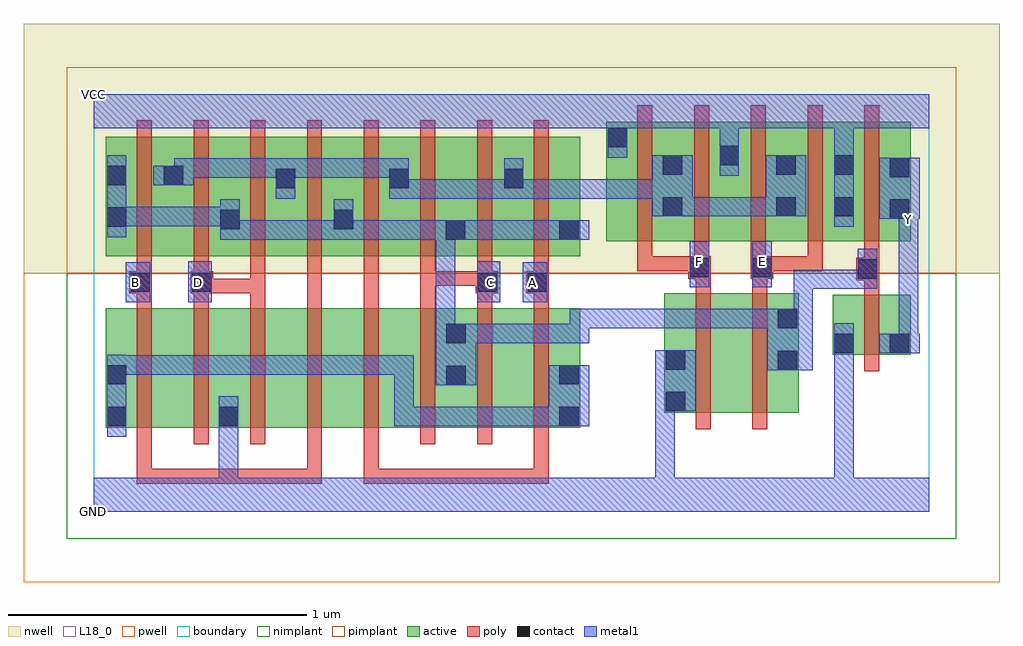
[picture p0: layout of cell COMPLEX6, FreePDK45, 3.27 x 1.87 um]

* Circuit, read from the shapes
.subckt COMPLEX6 A B C D E F GND VCC Y
M1 n1 B n2 VSUBS nfet w=0.4u l=0.05u
M2 GND D n1 VSUBS nfet w=0.4u l=0.05u
M3 n3 D GND VSUBS nfet w=0.4u l=0.05u
M4 n4 B n3 VSUBS nfet w=0.4u l=0.05u
M5 n5 A n4 VSUBS nfet w=0.4u l=0.05u
M6 n6 C n5 VSUBS nfet w=0.4u l=0.05u
M7 n7 C n6 VSUBS nfet w=0.4u l=0.05u
M8 n2 A n7 VSUBS nfet w=0.4u l=0.05u
M9 n8 F GND VSUBS nfet w=0.4u l=0.05u
M10 n6 E n8 VSUBS nfet w=0.4u l=0.05u
M11 Y n6 GND VSUBS nfet w=0.2u l=0.05u
M12 n9 B n6 n10 pfet w=0.4u l=0.05u m=2
M13 n6 D n9 n10 pfet w=0.4u l=0.05u m=2
M14 n9 A n6 n10 pfet w=0.4u l=0.05u m=2
M15 n6 C n9 n10 pfet w=0.4u l=0.05u m=2
M16 n9 F VCC n10 pfet w=0.4u l=0.05u m=2
M17 n9 E VCC n10 pfet w=0.4u l=0.05u m=2
M18 Y n6 VCC n10 pfet w=0.4u l=0.05u
.ends

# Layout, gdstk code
import gdstk
lib = gdstk.Library(unit=1e-6, precision=1e-09)
def R(c, l, rs):  # rectangles x0, y0, x1, y1
    for r in rs: c.add(gdstk.rectangle(r[:2], r[2:], *l))
def A(c, l, x, y, w, h, nx, ny, dx, dy):  # array of equal rectangles
    R(c, l, [(x+i*dx, y+j*dy, x+i*dx+w, y+j*dy+h) for i in range(nx) for j in range(ny)])
active = (1, 0)
pwell = (2, 0)
nwell = (3, 0)
nimplant = (4, 0)
pimplant = (5, 0)
poly = (9, 0)
contact = (10, 0)
metal1 = (11, 0)
L18_0 = (18, 0)
boundary = (235, 0)

complex6 = lib.new_cell('COMPLEX6')
A(complex6, active, 1.902, 0.907, 0.075, 0.293, 3, 1, 0.38, 0)
R(complex6, active, [(0.04,0.282,0.115,0.682), (0.04,0.282,0.265,0.682), (0.265,0.282,0.49,0.682), (0.415,0.282,0.645,0.682), (0.415,0.282,0.49,0.617), (0.645,0.282,0.835,0.682), (0.835,0.282,1.025,0.682), (1.025,0.282,1.252,0.682), (1.177,0.282,1.405,0.682), (1.405,0.282,1.63,0.682), (1.555,0.282,1.63,0.537), (1.177,0.332,1.252,0.682), (1.912,0.332,1.987,0.732), (1.912,0.332,2.137,0.732), (2.137,0.332,2.362,0.732), (2.287,0.332,2.362,0.732), (2.477,0.527,2.552,0.727), (2.477,0.527,2.737,0.727), (2.662,0.527,2.737,0.727), (0.04,0.857,0.305,1.257), (0.04,0.857,0.115,1.2), (0.23,0.857,0.495,1.257), (0.42,0.857,0.68,1.257), (0.605,0.857,0.875,1.257), (0.8,0.857,1.06,1.257), (0.985,0.857,1.25,1.257), (1.175,0.857,1.445,1.257), (1.37,0.857,1.63,1.257), (1.555,0.857,1.63,1.047), (0.23,0.907,0.305,1.2), (0.42,0.907,0.495,1.07), (0.605,0.907,0.68,1.2), (0.8,0.907,0.875,1.07), (0.985,0.907,1.06,1.2), (1.175,0.907,1.25,1.07), (1.37,0.907,1.445,1.2), (1.717,0.907,1.792,1.307), (1.717,0.907,1.977,1.307), (1.902,0.907,2.167,1.307), (2.092,0.907,2.167,1.255), (2.092,0.907,2.357,1.307), (2.282,0.907,2.552,1.307), (2.477,0.907,2.737,1.307), (2.477,0.907,2.552,1.255)])
R(complex6, pwell, [(-0.235,-0.235,3.035,0.8)])
R(complex6, nwell, [(-0.235,0.8,3.035,1.635)])
R(complex6, nimplant, [(-0.09,-0.09,2.89,0.8)])
R(complex6, pimplant, [(-0.09,0.8,2.89,1.49)])
A(complex6, poly, 0.145, 0.227, 0.05, 0.51, 8, 2, 0.19, 0.575)
A(complex6, poly, 0.145, 0.687, 0.05, 0.095, 3, 1, 0.19, 0)
A(complex6, poly, 0.335, 0.757, 0.05, 0.095, 3, 1, 0.38, 0)
A(complex6, poly, 1.822, 0.807, 0.05, 0.095, 4, 1, 0.19, 0)
A(complex6, poly, 1.822, 0.852, 0.05, 0.51, 5, 1, 0.19, 0)
R(complex6, poly, [(0.145,0.095,0.195,0.145), (0.145,0.095,0.195,0.145), (0.145,0.095,0.195,0.145), (0.145,0.095,0.195,0.277), (0.145,0.095,0.442,0.145), (0.392,0.095,0.442,0.145), (0.392,0.095,0.442,0.145), (0.392,0.095,0.442,0.145), (0.392,0.095,0.632,0.145), (0.582,0.095,0.632,0.145), (0.582,0.095,0.632,0.145), (0.582,0.095,0.632,0.145), (0.582,0.095,0.765,0.145), (0.715,0.095,0.765,0.145), (0.715,0.095,0.765,0.277), (0.905,0.095,0.955,0.145), (0.905,0.095,0.955,0.145), (0.905,0.095,0.955,0.145), (0.905,0.095,0.955,0.277), (0.905,0.095,1.087,0.145), (1.037,0.095,1.087,0.145), (1.037,0.095,1.087,0.145), (1.037,0.095,1.087,0.145), (1.037,0.095,1.367,0.145), (1.317,0.095,1.367,0.145), (1.317,0.095,1.367,0.145), (1.317,0.095,1.367,0.145), (1.317,0.095,1.525,0.145), (1.475,0.095,1.525,0.145), (1.475,0.095,1.525,0.277), (2.017,0.277,2.067,0.787), (2.207,0.277,2.257,0.787), (2.582,0.472,2.632,0.782), (0.715,0.687,0.765,0.807), (0.905,0.687,0.955,0.782), (1.095,0.687,1.145,0.807), (1.285,0.687,1.335,0.782), (1.475,0.687,1.525,0.782), (0.12,0.732,0.195,0.807), (0.325,0.732,0.4,0.807), (0.35,0.732,0.4,0.782), (0.35,0.732,0.4,0.782), (0.35,0.732,0.575,0.782), (0.525,0.732,0.575,0.782), (0.525,0.732,0.575,0.852), (0.905,0.732,0.955,0.782), (0.905,0.732,0.955,0.852), (1.28,0.732,1.355,0.807), (1.45,0.732,1.525,0.807), (2.582,0.732,2.632,0.827), (2.017,0.737,2.067,0.832), (2.207,0.737,2.257,0.832), (0.145,0.757,0.195,0.852), (0.715,0.757,0.765,0.807), (1.095,0.757,1.145,0.807), (1.095,0.757,1.145,0.807), (1.095,0.757,1.145,0.807), (1.095,0.757,1.33,0.807), (1.285,0.757,1.335,0.852), (1.475,0.757,1.525,0.852), (2.555,0.777,2.632,0.852), (1.992,0.782,2.067,0.857), (2.202,0.782,2.277,0.857), (2.582,0.802,2.632,0.902), (1.822,0.807,1.872,0.857), (1.822,0.807,1.872,0.857), (1.822,0.807,1.872,0.857), (1.822,0.807,2.042,0.857), (2.227,0.807,2.442,0.857), (2.392,0.807,2.442,0.857), (2.392,0.807,2.442,0.857), (2.392,0.807,2.442,0.857)])
R(complex6, contact, [(0.045,0.287,0.11,0.352), (0.42,0.287,0.485,0.352), (1.56,0.287,1.625,0.352), (1.917,0.337,1.982,0.402), (1.182,0.425,1.247,0.49), (0.045,0.427,0.11,0.492), (1.56,0.427,1.625,0.492), (2.292,0.475,2.357,0.54), (1.917,0.477,1.982,0.542), (2.482,0.532,2.547,0.597), (2.667,0.532,2.732,0.597), (1.182,0.565,1.247,0.63), (2.292,0.615,2.357,0.68), (0.125,0.737,0.19,0.802), (0.33,0.737,0.395,0.802), (1.285,0.737,1.35,0.802), (1.455,0.737,1.52,0.802), (2.56,0.782,2.625,0.847), (1.997,0.787,2.062,0.852), (2.207,0.787,2.272,0.852), (1.18,0.912,1.245,0.977), (1.56,0.912,1.625,0.977), (0.425,0.947,0.49,1.012), (0.805,0.947,0.87,1.012), (0.045,0.955,0.11,1.02), (2.667,0.982,2.732,1.047), (1.907,0.99,1.972,1.055), (2.287,0.99,2.352,1.055), (2.482,0.99,2.547,1.055), (0.61,1.085,0.675,1.15), (0.99,1.085,1.055,1.15), (1.375,1.085,1.44,1.15), (0.045,1.095,0.11,1.16), (0.235,1.095,0.3,1.16), (2.667,1.122,2.732,1.187), (1.907,1.13,1.972,1.195), (2.287,1.13,2.352,1.195), (2.482,1.13,2.547,1.195), (2.097,1.162,2.162,1.227), (1.722,1.222,1.787,1.287)])
R(complex6, metal1, [(0,0,2.8,0.115), (0.42,0.05,0.485,0.115), (0.42,0.05,0.485,0.115), (0.42,0.05,0.485,0.115), (0.42,0.05,0.485,0.115), (0.42,0.05,0.485,0.317), (1.882,0.05,1.947,0.115), (1.882,0.05,1.947,0.115), (1.882,0.05,1.947,0.115), (1.882,0.05,1.947,0.115), (1.882,0.05,1.947,0.402), (2.482,0.05,2.547,0.115), (2.482,0.05,2.547,0.115), (2.482,0.05,2.547,0.115), (2.482,0.05,2.547,0.115), (2.482,0.05,2.547,0.115), (2.482,0.05,2.547,0.115), (2.482,0.05,2.547,0.562), (0.045,0.252,0.11,0.527), (0.42,0.252,0.485,0.387), (1.007,0.287,1.072,0.352), (1.007,0.287,1.072,0.352), (1.007,0.287,1.072,0.352), (1.007,0.287,1.302,0.352), (1.007,0.287,1.072,0.525), (1.237,0.287,1.302,0.352), (1.237,0.287,1.302,0.352), (1.237,0.287,1.302,0.352), (1.237,0.287,1.44,0.352), (1.375,0.287,1.44,0.352), (1.375,0.287,1.59,0.352), (1.525,0.287,1.59,0.352), (1.525,0.287,1.59,0.352), (1.525,0.287,1.66,0.492), (1.882,0.337,2.017,0.542), (1.147,0.425,1.282,0.63), (0.045,0.46,0.11,0.525), (0.045,0.46,0.11,0.525), (0.045,0.46,0.347,0.525), (0.282,0.46,0.347,0.525), (0.282,0.46,0.347,0.525), (0.282,0.46,0.347,0.525), (0.282,0.46,0.537,0.525), (0.472,0.46,0.537,0.525), (0.472,0.46,0.537,0.525), (0.472,0.46,0.537,0.525), (0.472,0.46,0.675,0.525), (0.61,0.46,0.675,0.525), (0.61,0.46,0.675,0.525), (0.61,0.46,0.675,0.525), (0.61,0.46,0.917,0.525), (0.852,0.46,0.917,0.525), (0.852,0.46,0.917,0.525), (0.852,0.46,0.917,0.525), (0.852,0.46,1.072,0.525), (1.007,0.46,1.072,0.525), (2.257,0.475,2.41,0.68), (2.482,0.497,2.547,0.562), (2.482,0.497,2.547,0.562), (2.482,0.497,2.547,0.632), (2.632,0.532,2.767,0.597), (2.697,0.532,2.762,0.977), (1.147,0.565,1.212,0.63), (1.147,0.565,1.212,0.63), (1.147,0.565,1.212,0.977), (1.217,0.565,1.282,0.63), (1.217,0.565,1.282,0.63), (1.217,0.565,1.44,0.63), (1.375,0.565,1.44,0.63), (1.375,0.565,1.44,0.63), (1.375,0.565,1.44,0.63), (1.375,0.565,1.66,0.63), (1.595,0.565,1.66,0.68), (1.595,0.615,1.797,0.68), (1.732,0.615,1.797,0.68), (1.732,0.615,1.797,0.68), (1.732,0.615,1.797,0.68), (1.732,0.615,1.935,0.68), (1.87,0.615,1.935,0.68), (1.87,0.615,1.935,0.68), (1.87,0.615,1.935,0.68), (1.87,0.615,2.145,0.68), (2.08,0.615,2.145,0.68), (2.08,0.615,2.145,0.68), (2.08,0.615,2.145,0.68), (2.08,0.615,2.322,0.68), (2.345,0.615,2.41,0.812), (0.107,0.702,0.19,0.837), (0.317,0.702,0.395,0.84), (1.285,0.702,1.362,0.84), (1.437,0.702,1.52,0.837), (2.345,0.747,2.41,0.812), (2.345,0.747,2.41,0.812), (2.345,0.747,2.41,0.812), (2.345,0.747,2.547,0.812), (2.482,0.747,2.547,0.812), (2.482,0.747,2.625,0.812), (2.56,0.747,2.625,0.882), (1.997,0.752,2.062,0.907), (2.207,0.752,2.272,0.907), (0.425,0.912,0.49,0.977), (0.425,0.912,0.49,0.977), (0.425,0.912,0.49,1.047), (0.425,0.912,0.732,0.977), (0.667,0.912,0.732,0.977), (0.667,0.912,0.732,0.977), (0.667,0.912,0.732,0.977), (0.667,0.912,0.87,0.977), (0.805,0.912,0.87,0.977), (0.805,0.912,0.87,0.977), (0.805,0.912,0.87,1.047), (0.805,0.912,1.072,0.977), (1.007,0.912,1.072,0.977), (1.007,0.912,1.072,0.977), (1.007,0.912,1.072,0.977), (1.007,0.912,1.21,0.977), (1.145,0.912,1.28,0.977), (1.215,0.912,1.28,0.977), (1.215,0.912,1.28,0.977), (1.215,0.912,1.452,0.977), (1.387,0.912,1.452,0.977), (1.387,0.912,1.452,0.977), (1.387,0.912,1.452,0.977), (1.387,0.912,1.59,0.977), (1.525,0.912,1.66,0.977), (2.697,0.912,2.762,1.047), (0.045,0.92,0.11,1.195), (2.482,0.955,2.547,1.23), (0.045,0.957,0.11,1.022), (0.045,0.957,0.11,1.022), (0.045,0.957,0.347,1.022), (0.282,0.957,0.347,1.022), (0.282,0.957,0.347,1.022), (0.282,0.957,0.347,1.022), (0.282,0.957,0.49,1.022), (2.632,0.982,2.767,1.187), (2.697,0.982,2.762,1.047), (1.872,0.99,2.007,1.195), (1.942,0.99,2.007,1.055), (1.942,0.99,2.007,1.055), (1.942,0.99,2.18,1.055), (2.115,0.99,2.18,1.055), (2.115,0.99,2.18,1.055), (2.115,0.99,2.18,1.055), (2.115,0.99,2.317,1.055), (2.252,0.99,2.387,1.195), (0.61,1.05,0.675,1.185), (0.99,1.05,1.055,1.115), (0.99,1.05,1.055,1.115), (0.99,1.05,1.055,1.185), (0.99,1.05,1.302,1.115), (1.237,1.05,1.302,1.115), (1.237,1.05,1.302,1.115), (1.237,1.05,1.302,1.115), (1.237,1.05,1.44,1.115), (1.375,1.05,1.44,1.115), (1.375,1.05,1.44,1.115), (1.375,1.05,1.44,1.185), (1.375,1.05,1.66,1.115), (1.595,1.05,1.66,1.115), (1.595,1.05,1.797,1.115), (1.732,1.05,1.797,1.115), (1.732,1.05,1.797,1.115), (1.732,1.05,1.797,1.115), (1.732,1.05,1.797,1.115), (1.732,1.05,1.797,1.115), (1.732,1.05,1.937,1.115), (0.2,1.095,0.335,1.16), (0.27,1.095,0.335,1.16), (0.27,1.095,0.335,1.185), (0.27,1.12,0.485,1.185), (0.42,1.12,0.485,1.185), (0.42,1.12,0.485,1.185), (0.42,1.12,0.485,1.185), (0.42,1.12,0.675,1.185), (0.61,1.12,0.675,1.185), (0.61,1.12,0.675,1.185), (0.61,1.12,0.87,1.185), (0.805,1.12,0.87,1.185), (0.805,1.12,0.87,1.185), (0.805,1.12,0.87,1.185), (0.805,1.12,1.055,1.185), (2.097,1.127,2.162,1.262), (2.482,1.165,2.547,1.35), (1.722,1.187,1.787,1.322), (2.097,1.197,2.162,1.35), (1.722,1.257,1.787,1.35), (0,1.285,2.8,1.4)])
R(complex6, L18_0, [(0,0,2.8,0.115), (0.42,0.05,0.485,0.115), (0.42,0.05,0.485,0.115), (0.42,0.05,0.485,0.115), (0.42,0.05,0.485,0.115), (0.42,0.05,0.485,0.317), (1.882,0.05,1.947,0.115), (1.882,0.05,1.947,0.115), (1.882,0.05,1.947,0.115), (1.882,0.05,1.947,0.115), (1.882,0.05,1.947,0.402), (2.482,0.05,2.547,0.115), (2.482,0.05,2.547,0.115), (2.482,0.05,2.547,0.115), (2.482,0.05,2.547,0.115), (2.482,0.05,2.547,0.115), (2.482,0.05,2.547,0.115), (2.482,0.05,2.547,0.562), (0.42,0.252,0.485,0.387), (1.882,0.337,2.017,0.542), (2.482,0.497,2.547,0.562), (2.482,0.497,2.547,0.562), (2.482,0.497,2.547,0.632), (2.632,0.532,2.767,0.597), (2.697,0.532,2.762,0.977), (0.107,0.702,0.19,0.837), (0.317,0.702,0.395,0.84), (1.285,0.702,1.362,0.84), (1.437,0.702,1.52,0.837), (0.107,0.737,0.172,0.802), (0.317,0.737,0.382,0.802), (1.297,0.737,1.362,0.802), (1.437,0.737,1.502,0.802), (1.997,0.752,2.062,0.907), (2.207,0.752,2.272,0.907), (1.997,0.807,2.062,0.872), (2.207,0.807,2.272,0.872), (2.697,0.912,2.762,1.047), (2.697,0.947,2.762,1.012), (2.482,0.955,2.547,1.23), (2.632,0.982,2.767,1.187), (2.697,0.982,2.762,1.047), (2.097,1.127,2.162,1.262), (2.482,1.165,2.547,1.35), (1.722,1.187,1.787,1.322), (2.097,1.197,2.162,1.35), (1.722,1.257,1.787,1.35), (0,1.285,2.8,1.4)])
R(complex6, boundary, [(0,0,2.8,1.4)])
complex6.add(gdstk.Label('A', (1.47,0.77), layer=11, texttype=0))
complex6.add(gdstk.Label('B', (0.14,0.77), layer=11, texttype=0))
complex6.add(gdstk.Label('C', (1.33,0.77), layer=11, texttype=0))
complex6.add(gdstk.Label('D', (0.35,0.77), layer=11, texttype=0))
complex6.add(gdstk.Label('E', (2.24,0.84), layer=11, texttype=0))
complex6.add(gdstk.Label('F', (2.03,0.84), layer=11, texttype=0))
complex6.add(gdstk.Label('Y', (2.73,0.98), layer=11, texttype=0))
complex6.add(gdstk.Label('VCC', (0,1.4), layer=11, texttype=0))
complex6.add(gdstk.Label('GND', (0,0), layer=11, texttype=0))

lib.write_gds('COMPLEX6.gds')
